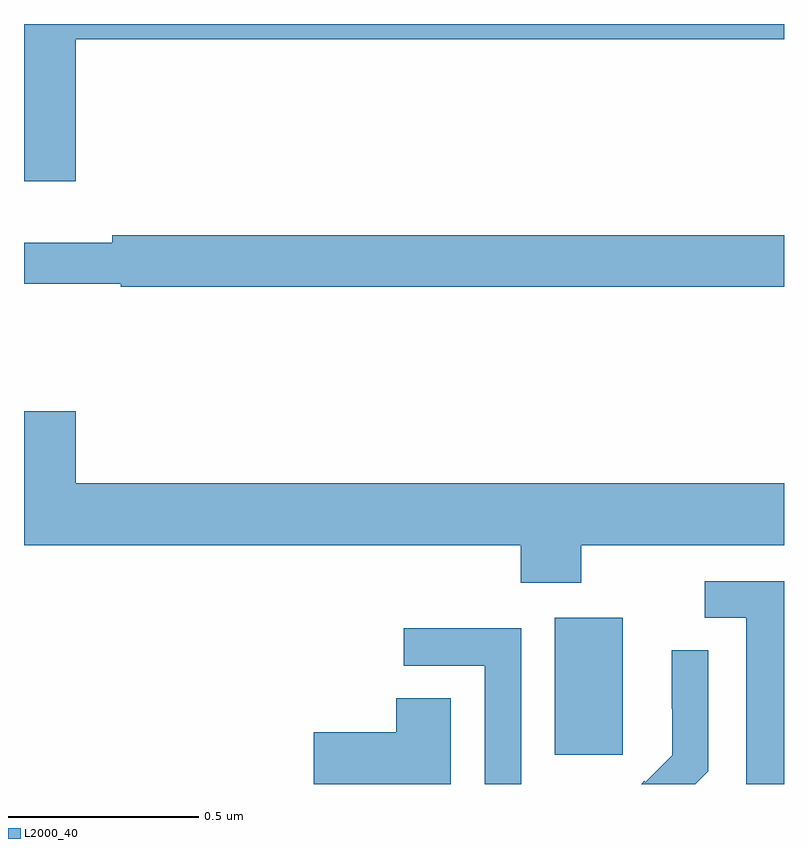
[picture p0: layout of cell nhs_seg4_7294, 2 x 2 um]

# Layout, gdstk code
import gdstk
lib = gdstk.Library(unit=1e-6, precision=1e-09)
def R(c, l, rs):  # rectangles x0, y0, x1, y1
    for r in rs: c.add(gdstk.rectangle(r[:2], r[2:], *l))
def P(c, l, *ps):  # polygons
    for p in ps: c.add(gdstk.Polygon(p, *l))
L2000_40 = (2000, 40)

nhs_seg4_7294 = lib.new_cell('nhs_seg4_7294')
R(nhs_seg4_7294, L2000_40, [(202.397,754.977,202.576,755.338)])
P(nhs_seg4_7294, L2000_40, [(201.136,756.86),(203,756.86),(203,756.9),(201,756.9),(201,756.486),(201.136,756.486)],
  [(203,756.344),(201.232,756.344),(201.232,756.325),(201,756.325),(201,756.216),(201.255,756.216),(201.255,756.208),(203,756.208)],
  [(202.467,755.528),(203,755.528),(203,755.692),(201.136,755.692),(201.136,755.881),(201,755.881),(201,755.528),(202.307,755.528),(202.307,755.429),(202.467,755.429)],
  [(203,755.433),(202.791,755.433),(202.791,755.337),(202.901,755.337),(202.901,754.9),(203,754.9)],
  [(202.308,755.31),(201.999,755.31),(201.999,755.211),(202.212,755.211),(202.212,754.9),(202.308,754.9)],
  [(202.8,754.934),(202.8,755.252),(202.704,755.252),(202.704,755.098),(202.706,755.098),(202.706,754.976),(202.635,754.905),(202.632,754.908),(202.624,754.9),(202.766,754.9)],
  [(202.123,755.126),(201.98,755.126),(201.98,755.036),(201.762,755.036),(201.762,754.9),(202.123,754.9)])

lib.write_gds('nhs_seg4_7294.gds')
